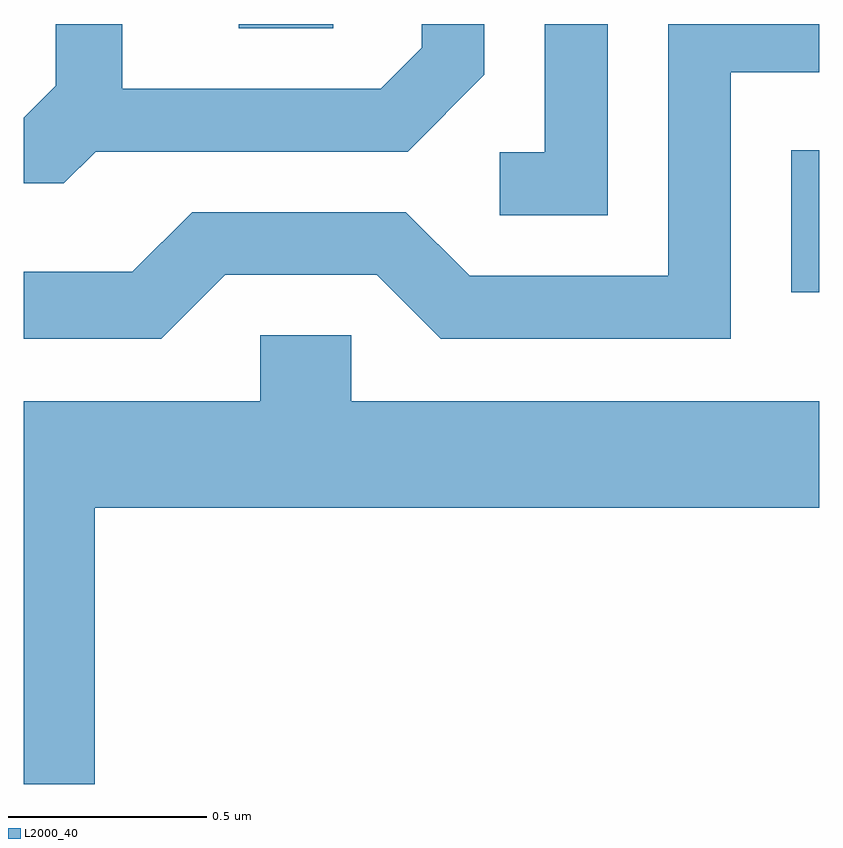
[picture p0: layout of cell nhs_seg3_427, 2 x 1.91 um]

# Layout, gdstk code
import gdstk
lib = gdstk.Library(unit=1e-6, precision=1e-09)
def R(c, l, rs):  # rectangles x0, y0, x1, y1
    for r in rs: c.add(gdstk.rectangle(r[:2], r[2:], *l))
def P(c, l, *ps):  # polygons
    for p in ps: c.add(gdstk.Polygon(p, *l))
L2000_40 = (2000, 40)

nhs_seg3_427 = lib.new_cell('nhs_seg3_427')
R(nhs_seg3_427, L2000_40, [(190.541,1133.218,190.611,1133.574), (189.151,1133.881,189.389,1133.892)])
P(nhs_seg3_427, L2000_40, [(189.117,1133.261),(189.499,1133.261),(189.659,1133.101),(190.389,1133.101),(190.389,1133.771),(190.611,1133.771),(190.611,1133.892),(190.231,1133.892),(190.231,1133.259),(189.732,1133.259),(189.572,1133.419),(189.034,1133.419),(188.884,1133.269),(188.611,1133.269),(188.611,1133.101),(188.957,1133.101)],
  [(188.792,1133.571),(189.577,1133.571),(189.769,1133.764),(189.769,1133.892),(189.611,1133.892),(189.611,1133.832),(189.509,1133.729),(188.859,1133.729),(188.859,1133.892),(188.691,1133.892),(188.691,1133.737),(188.611,1133.656),(188.611,1133.491),(188.712,1133.491)],
  [(190.079,1133.892),(189.921,1133.892),(189.921,1133.569),(189.808,1133.569),(189.808,1133.411),(190.079,1133.411)],
  [(188.789,1132.676),(190.611,1132.676),(190.611,1132.944),(189.434,1132.944),(189.434,1133.109),(189.206,1133.109),(189.206,1132.944),(188.611,1132.944),(188.611,1131.981),(188.789,1131.981)])

lib.write_gds('nhs_seg3_427.gds')
